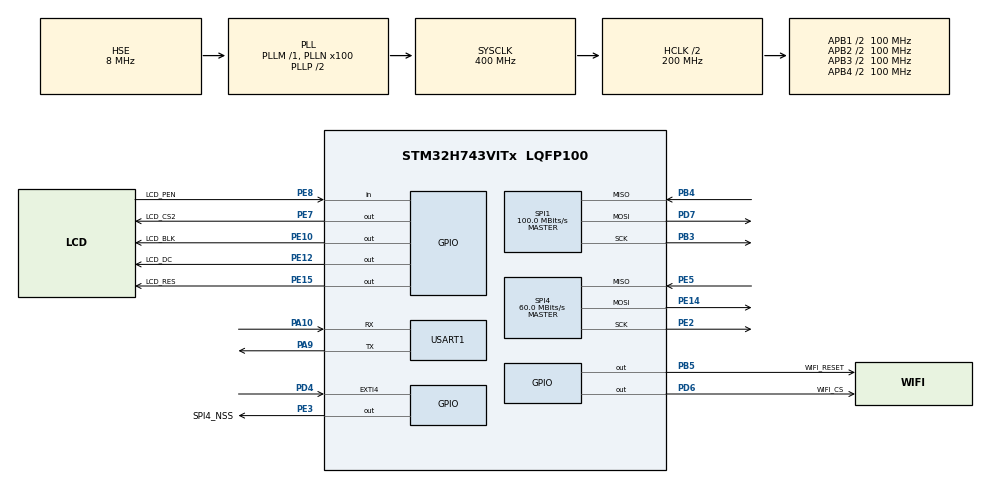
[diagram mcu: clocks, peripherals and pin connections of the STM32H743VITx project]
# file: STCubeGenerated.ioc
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CORTEX_M7.AccessPermission-Cortex_Memory_Protection_Unit_Region0_Settings=MPU_REGION_FULL_ACCESS
CORTEX_M7.AccessPermission-Cortex_Memory_Protection_Unit_Region1_Settings=MPU_REGION_FULL_ACCESS
CORTEX_M7.BaseAddress-Cortex_Memory_Protection_Unit_Region1_Settings=0x24000000
CORTEX_M7.CPU_DCache=Enabled
CORTEX_M7.CPU_ICache=Enabled
CORTEX_M7.Enable-Cortex_Memory_Protection_Unit_Region0_Settings=MPU_REGION_ENABLE
CORTEX_M7.Enable-Cortex_Memory_Protection_Unit_Region1_Settings=MPU_REGION_ENABLE
CORTEX_M7.IsBufferable-Cortex_Memory_Protection_Unit_Region0_Settings=MPU_ACCESS_BUFFERABLE
CORTEX_M7.IsBufferable-Cortex_Memory_Protection_Unit_Region1_Settings=MPU_ACCESS_BUFFERABLE
CORTEX_M7.IsCacheable-Cortex_Memory_Protection_Unit_Region0_Settings=MPU_ACCESS_CACHEABLE
CORTEX_M7.IsCacheable-Cortex_Memory_Protection_Unit_Region1_Settings=MPU_ACCESS_CACHEABLE
CORTEX_M7.IsShareable-Cortex_Memory_Protection_Unit_Region0_Settings=MPU_ACCESS_SHAREABLE
CORTEX_M7.IsShareable-Cortex_Memory_Protection_Unit_Region1_Settings=MPU_ACCESS_SHAREABLE
CORTEX_M7.MPU_Control=MPU_PRIVILEGED_DEFAULT
CORTEX_M7.Size-Cortex_Memory_Protection_Unit_Region0_Settings=MPU_REGION_SIZE_64KB
CORTEX_M7.Size-Cortex_Memory_Protection_Unit_Region1_Settings=MPU_REGION_SIZE_512KB
CORTEX_M7.TypeExtField-Cortex_Memory_Protection_Unit_Region0_Settings=MPU_TEX_LEVEL1
CORTEX_M7.TypeExtField-Cortex_Memory_Protection_Unit_Region1_Settings=MPU_TEX_LEVEL1
Dma.Request0=USART1_RX
Dma.Request1=SPI4_TX
Dma.Request2=SPI1_TX
Dma.Request3=SPI1_RX
Dma.SPI1_RX.3.Direction=DMA_PERIPH_TO_MEMORY
Dma.SPI1_RX.3.EventEnable=DISABLE
Dma.SPI1_RX.3.FIFOMode=DMA_FIFOMODE_DISABLE
Dma.SPI1_RX.3.Instance=DMA1_Stream4
Dma.SPI1_RX.3.MemDataAlignment=DMA_MDATAALIGN_BYTE
Dma.SPI1_RX.3.MemInc=DMA_MINC_ENABLE
Dma.SPI1_RX.3.Mode=DMA_NORMAL
Dma.SPI1_RX.3.PeriphDataAlignment=DMA_PDATAALIGN_BYTE
Dma.SPI1_RX.3.PeriphInc=DMA_PINC_DISABLE
Dma.SPI1_RX.3.Polarity=HAL_DMAMUX_REQ_GEN_RISING
Dma.SPI1_RX.3.Priority=DMA_PRIORITY_LOW
Dma.SPI1_RX.3.RequestNumber=1
Dma.SPI1_RX.3.SyncEnable=DISABLE
Dma.SPI1_RX.3.SyncPolarity=HAL_DMAMUX_SYNC_NO_EVENT
Dma.SPI1_RX.3.SyncRequestNumber=1
Dma.SPI1_TX.2.Direction=DMA_MEMORY_TO_PERIPH
Dma.SPI1_TX.2.EventEnable=DISABLE
Dma.SPI1_TX.2.FIFOMode=DMA_FIFOMODE_DISABLE
Dma.SPI1_TX.2.Instance=DMA1_Stream3
Dma.SPI1_TX.2.MemDataAlignment=DMA_MDATAALIGN_BYTE
Dma.SPI1_TX.2.MemInc=DMA_MINC_ENABLE
Dma.SPI1_TX.2.Mode=DMA_NORMAL
Dma.SPI1_TX.2.PeriphDataAlignment=DMA_PDATAALIGN_BYTE
Dma.SPI1_TX.2.PeriphInc=DMA_PINC_DISABLE
Dma.SPI1_TX.2.Polarity=HAL_DMAMUX_REQ_GEN_RISING
Dma.SPI1_TX.2.Priority=DMA_PRIORITY_LOW
Dma.SPI1_TX.2.RequestNumber=1
Dma.SPI1_TX.2.SyncEnable=DISABLE
Dma.SPI1_TX.2.SyncPolarity=HAL_DMAMUX_SYNC_NO_EVENT
Dma.SPI1_TX.2.SyncRequestNumber=1
Dma.SPI4_TX.1.Direction=DMA_MEMORY_TO_PERIPH
Dma.SPI4_TX.1.EventEnable=DISABLE
Dma.SPI4_TX.1.FIFOMode=DMA_FIFOMODE_DISABLE
Dma.SPI4_TX.1.Instance=DMA1_Stream2
Dma.SPI4_TX.1.MemDataAlignment=DMA_MDATAALIGN_BYTE
Dma.SPI4_TX.1.MemInc=DMA_MINC_ENABLE
Dma.SPI4_TX.1.Mode=DMA_NORMAL
Dma.SPI4_TX.1.PeriphDataAlignment=DMA_PDATAALIGN_BYTE
Dma.SPI4_TX.1.PeriphInc=DMA_PINC_DISABLE
Dma.SPI4_TX.1.Polarity=HAL_DMAMUX_REQ_GEN_RISING
Dma.SPI4_TX.1.Priority=DMA_PRIORITY_LOW
Dma.SPI4_TX.1.RequestNumber=1
Dma.SPI4_TX.1.SyncEnable=DISABLE
Dma.SPI4_TX.1.SyncPolarity=HAL_DMAMUX_SYNC_NO_EVENT
Dma.SPI4_TX.1.SyncRequestNumber=1
Dma.USART1_RX.0.Direction=DMA_PERIPH_TO_MEMORY
Dma.USART1_RX.0.EventEnable=DISABLE
Dma.USART1_RX.0.FIFOMode=DMA_FIFOMODE_DISABLE
Dma.USART1_RX.0.Instance=DMA1_Stream0
Dma.USART1_RX.0.MemDataAlignment=DMA_MDATAALIGN_BYTE
Dma.USART1_RX.0.MemInc=DMA_MINC_ENABLE
Dma.USART1_RX.0.Mode=DMA_NORMAL
Dma.USART1_RX.0.PeriphDataAlignment=DMA_PDATAALIGN_BYTE
Dma.USART1_RX.0.PeriphInc=DMA_PINC_DISABLE
Dma.USART1_RX.0.Polarity=HAL_DMAMUX_REQ_GEN_RISING
Dma.USART1_RX.0.Priority=DMA_PRIORITY_LOW
Dma.USART1_RX.0.RequestNumber=1
Dma.USART1_RX.0.SyncEnable=DISABLE
Dma.USART1_RX.0.SyncPolarity=HAL_DMAMUX_SYNC_NO_EVENT
Dma.USART1_RX.0.SyncRequestNumber=1
Mcu.Family=STM32H7
Mcu.Name=STM32H743VITx
Mcu.Package=LQFP100
NVIC.DMA1_Stream0_IRQn=true\:0\:0\:false\:false\:true\:false
NVIC.DMA1_Stream2_IRQn=true\:0\:0\:false\:false\:true\:false
NVIC.DMA1_Stream3_IRQn=true\:0\:0\:false\:false\:true\:false
NVIC.DMA1_Stream4_IRQn=true\:0\:0\:false\:false\:true\:false
NVIC.EXTI4_IRQn=true\:0\:0\:false\:false\:true\:true
NVIC.PriorityGroup=NVIC_PRIORITYGROUP_4
NVIC.SPI1_IRQn=true\:0\:0\:false\:false\:true\:true
NVIC.SPI4_IRQn=true\:0\:0\:false\:false\:true\:false
NVIC.USART1_IRQn=true\:0\:0\:false\:false\:true\:true
PA10.GPIO_Speed=GPIO_SPEED_FREQ_VERY_HIGH
PA10.Mode=Asynchronous
PA10.Signal=USART1_RX
PA13\ (JTMS/SWDIO).Mode=Serial_Wire
PA13\ (JTMS/SWDIO).Signal=SYS_JTMS-SWDIO
PA14\ (JTCK/SWCLK).Mode=Serial_Wire
PA14\ (JTCK/SWCLK).Signal=SYS_JTCK-SWCLK
PA9.GPIO_Speed=GPIO_SPEED_FREQ_VERY_HIGH
PA9.Mode=Asynchronous
PA9.Signal=USART1_TX
PB3\ (JTDO/TRACESWO).GPIO_Speed=GPIO_SPEED_FREQ_VERY_HIGH
PB3\ (JTDO/TRACESWO).Mode=Full_Duplex_Master
PB3\ (JTDO/TRACESWO).Signal=SPI1_SCK
PB4\ (NJTRST).GPIO_Speed=GPIO_SPEED_FREQ_VERY_HIGH
PB4\ (NJTRST).Mode=Full_Duplex_Master
PB4\ (NJTRST).Signal=SPI1_MISO
PB5.GPIO_Label=WIFI_RESET
PB5.GPIO_PuPd=GPIO_PULLUP
PB5.PinState=GPIO_PIN_SET
PB5.Signal=GPIO_Output
PD4.GPIO_ModeDefaultEXTI=GPIO_MODE_IT_FALLING
PD4.GPIO_PuPd=GPIO_PULLUP
PD4.Signal=GPXTI4
PD6.GPIO_Label=WIFI_CS
PD6.GPIO_PuPd=GPIO_PULLUP
PD6.GPIO_Speed=GPIO_SPEED_FREQ_VERY_HIGH
PD6.PinState=GPIO_PIN_SET
PD6.Signal=GPIO_Output
PD7.GPIO_Speed=GPIO_SPEED_FREQ_VERY_HIGH
PD7.Mode=Full_Duplex_Master
PD7.Signal=SPI1_MOSI
PE10.GPIO_Label=LCD_BLK
PE10.GPIO_PuPd=GPIO_PULLUP
PE10.Signal=GPIO_Output
PE12.GPIO_Label=LCD_DC
PE12.GPIO_PuPd=GPIO_NOPULL
PE12.GPIO_Speed=GPIO_SPEED_FREQ_VERY_HIGH
PE12.Signal=GPIO_Output
PE14.GPIO_Speed=GPIO_SPEED_FREQ_VERY_HIGH
PE14.Mode=Full_Duplex_Master
PE14.Signal=SPI4_MOSI
PE15.GPIO_Label=LCD_RES
PE15.GPIO_PuPd=GPIO_PULLUP
PE15.GPIO_Speed=GPIO_SPEED_FREQ_LOW
PE15.PinState=GPIO_PIN_SET
PE15.Signal=GPIO_Output
PE2.GPIO_Speed=GPIO_SPEED_FREQ_VERY_HIGH
PE2.Mode=Full_Duplex_Master
PE2.Signal=SPI4_SCK
PE3.GPIO_Label=SPI4_NSS
PE3.GPIO_PuPd=GPIO_PULLUP
PE3.GPIO_Speed=GPIO_SPEED_FREQ_VERY_HIGH
PE3.PinState=GPIO_PIN_SET
PE3.Signal=GPIO_Output
PE5.GPIO_Speed=GPIO_SPEED_FREQ_VERY_HIGH
PE5.Mode=Full_Duplex_Master
PE5.Signal=SPI4_MISO
PE7.GPIO_Label=LCD_CS2
PE7.GPIO_PuPd=GPIO_PULLUP
PE7.GPIO_Speed=GPIO_SPEED_FREQ_VERY_HIGH
PE7.PinState=GPIO_PIN_SET
PE7.Signal=GPIO_Output
PE8.GPIO_Label=LCD_PEN
PE8.GPIO_PuPd=GPIO_PULLUP
PE8.Signal=GPIO_Input
PH0-OSC_IN\ (PH0).Mode=HSE-External-Oscillator
PH0-OSC_IN\ (PH0).Signal=RCC_OSC_IN
PH1-OSC_OUT\ (PH1).Mode=HSE-External-Oscillator
PH1-OSC_OUT\ (PH1).Signal=RCC_OSC_OUT
ProjectManager.HeapSize=0x200
ProjectManager.StackSize=0x400
ProjectManager.TargetToolchain=Other Toolchains (GPDSC)
RCC.ADCFreq_Value=120000000
RCC.APB1Freq_Value=100000000
RCC.APB2Freq_Value=100000000
RCC.APB3Freq_Value=100000000
RCC.APB4Freq_Value=100000000
RCC.CortexFreq_Value=400000000
RCC.D1PPRE=RCC_APB3_DIV2
RCC.D2PPRE1=RCC_APB1_DIV2
RCC.D2PPRE2=RCC_APB2_DIV2
RCC.D3PPRE=RCC_APB4_DIV2
RCC.DIVM1=1
RCC.DIVM2=4
RCC.DIVN1=100
RCC.DIVN2=120
RCC.DIVQ2=1
RCC.HCLKFreq_Value=200000000
RCC.HPRE=RCC_HCLK_DIV2
RCC.HSE_VALUE=8000000
RCC.PLLSourceVirtual=RCC_PLLSOURCE_HSE
RCC.SYSCLKFreq_VALUE=400000000
RCC.SYSCLKSource=RCC_SYSCLKSOURCE_PLLCLK
RCC.Spi45ClockSelection=RCC_SPI45CLKSOURCE_PLL2
RCC.USBFreq_Value=400000000
SPI1.BaudRatePrescaler=SPI_BAUDRATEPRESCALER_4
SPI1.CLKPhase=SPI_PHASE_2EDGE
SPI1.CLKPolarity=SPI_POLARITY_HIGH
SPI1.CalculateBaudRate=100.0 MBits/s
SPI1.DataSize=SPI_DATASIZE_8BIT
SPI1.Direction=SPI_DIRECTION_2LINES
SPI1.Mode=SPI_MODE_MASTER
SPI1.VirtualType=VM_MASTER
SPI4.BaudRatePrescaler=SPI_BAUDRATEPRESCALER_4
SPI4.CalculateBaudRate=60.0 MBits/s
SPI4.DataSize=SPI_DATASIZE_8BIT
SPI4.Direction=SPI_DIRECTION_2LINES
SPI4.Mode=SPI_MODE_MASTER
SPI4.VirtualType=VM_MASTER
USART1.VirtualMode-Asynchronous=VM_ASYNC
board=custom

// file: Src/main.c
/* USER CODE BEGIN Header */
/**
  ******************************************************************************
  * @file           : main.c
  * @brief          : Main program body
  ******************************************************************************
  ** This notice applies to any and all portions of this file
  * that are not between comment pairs USER CODE BEGIN and
  * USER CODE END. Other portions of this file, whether
  * inserted by the user or by software development tools
  * are owned by their respective copyright owners.
  *
  * COPYRIGHT(c) 2018 STMicroelectronics
  *
  * Redistribution and use in source and binary forms, with or without modification,
  * are permitted provided that the following conditions are met:
  *   1. Redistributions of source code must retain the above copyright notice,
  *      this list of conditions and the following disclaimer.
  *   2. Redistributions in binary form must reproduce the above copyright notice,
  *      this list of conditions and the following disclaimer in the documentation
  *      and/or other materials provided with the distribution.
  *   3. Neither the name of STMicroelectronics nor the names of its contributors
  *      may be used to endorse or promote products derived from this software
  *      without specific prior written permission.
  *
  * THIS SOFTWARE IS PROVIDED BY THE COPYRIGHT HOLDERS AND CONTRIBUTORS "AS IS"
  * AND ANY EXPRESS OR IMPLIED WARRANTIES, INCLUDING, BUT NOT LIMITED TO, THE
  * IMPLIED WARRANTIES OF MERCHANTABILITY AND FITNESS FOR A PARTICULAR PURPOSE ARE
  * DISCLAIMED. IN NO EVENT SHALL THE COPYRIGHT HOLDER OR CONTRIBUTORS BE LIABLE
  * FOR ANY DIRECT, INDIRECT, INCIDENTAL, SPECIAL, EXEMPLARY, OR CONSEQUENTIAL
  * DAMAGES (INCLUDING, BUT NOT LIMITED TO, PROCUREMENT OF SUBSTITUTE GOODS OR
  * SERVICES; LOSS OF USE, DATA, OR PROFITS; OR BUSINESS INTERRUPTION) HOWEVER
  * CAUSED AND ON ANY THEORY OF LIABILITY, WHETHER IN CONTRACT, STRICT LIABILITY,
  * OR TORT (INCLUDING NEGLIGENCE OR OTHERWISE) ARISING IN ANY WAY OUT OF THE USE
  * OF THIS SOFTWARE, EVEN IF ADVISED OF THE POSSIBILITY OF SUCH DAMAGE.
  *
  ******************************************************************************
  */
/* USER CODE END Header */

#include "main.h"
#include "dma.h"
#include "spi.h"
#include "usart.h"
#include "gpio.h"

/* USER CODE BEGIN Includes */
#include "RTE_Components.h"
#include "EventRecorder.h"
#include "EventRecorderConf.h"
#include <string.h>
#include "RTE_Include.h"
#include "BSP_Systick.h"
#include "BSP_Led.h"
/* USER CODE END Includes */

void SystemClock_Config(void);
static void MPU_Config(void);

/* USER CODE BEGIN 0 */
__attribute__((section (".RAM_AXIM"))) uint8_t RecBuf[20] = {0};
void HAL_UART_RxCpltCallback(UART_HandleTypeDef *huart)
{
	if(huart == &huart1)
	{
		SCB_InvalidateDCache_by_Addr((uint32_t *)RecBuf, 20);
		HAL_UART_Transmit(&huart1,RecBuf,strlen((char *)RecBuf),HAL_MAX_DELAY);
	}
}
static void LEDTimer_Callback(void* UserParameters) {
	EventStopA(0);
	UNUSED(UserParameters);
	BSP_LED_Toggle(LED_0);
	EventStartA(0);
}
int stdout_putchar (int ch)
{
	HAL_UART_Transmit(&huart1,(uint8_t *)&ch,1,HAL_MAX_DELAY);
	return ch;
}
/* USER CODE END 0 */

int main(void)
{

  /* MPU Configuration--------------------------------------------------------*/
  MPU_Config();

  /* Enable I-Cache---------------------------------------------------------*/
  SCB_EnableICache();

  /* Enable D-Cache---------------------------------------------------------*/
  SCB_EnableDCache();

  /* MCU Configuration--------------------------------------------------------*/

  /* Reset of all peripherals, Initializes the Flash interface and the Systick. */
  HAL_Init();

  /* Configure the system clock */
  SystemClock_Config();

  /* Initialize all configured peripherals */
  MX_GPIO_Init();
  MX_DMA_Init();
  MX_USART1_UART_Init();
  MX_SPI4_Init();
  MX_SPI1_Init();
  /* USER CODE BEGIN 2 */
	/* 初始化 EventRecorder 并开启 */
	EventRecorderInitialize(EventRecordAll, 1U);
	EventRecorderStart();
	RTE_Init();
	BSP_LED_Init();
  /* USER CODE END 2 */

  /* Infinite loop */
  /* USER CODE BEGIN WHILE */
	printf("SystemCoreClock:%d\r\n",SystemCoreClock);
	HAL_UART_Transmit(&huart1,(uint8_t *)"Helloworld\r\n",12,HAL_MAX_DELAY);
	HAL_UART_Receive_DMA(&huart1,(uint8_t *)RecBuf,10);
	RTE_RoundRobin_CreateTimer(0,"LEDTimer",500,1,1,LEDTimer_Callback,(void *)0);
  while (1)
  {
    /* USER CODE END WHILE */

    /* USER CODE BEGIN 3 */
		RTE_RoundRobin_Run(0);
  }
  /* USER CODE END 3 */
}

void SystemClock_Config(void)
{
  RCC_OscInitTypeDef RCC_OscInitStruct = {0};
  RCC_ClkInitTypeDef RCC_ClkInitStruct = {0};
  RCC_PeriphCLKInitTypeDef PeriphClkInitStruct = {0};

  /**Supply configuration update enable
  */
  MODIFY_REG(PWR->CR3, PWR_CR3_SCUEN, 0);
  /**Configure the main internal regulator output voltage
  */
  __HAL_PWR_VOLTAGESCALING_CONFIG(PWR_REGULATOR_VOLTAGE_SCALE1);

  while ((PWR->D3CR & (PWR_D3CR_VOSRDY)) != PWR_D3CR_VOSRDY)
  {

  }
  /**Macro to configure the PLL clock source
  */
  __HAL_RCC_PLL_PLLSOURCE_CONFIG(RCC_PLLSOURCE_HSE);
  /**Initializes the CPU, AHB and APB busses clocks
  */
  RCC_OscInitStruct.OscillatorType = RCC_OSCILLATORTYPE_HSE;
  RCC_OscInitStruct.HSEState = RCC_HSE_ON;
  RCC_OscInitStruct.PLL.PLLState = RCC_PLL_ON;
  RCC_OscInitStruct.PLL.PLLSource = RCC_PLLSOURCE_HSE;
  RCC_OscInitStruct.PLL.PLLM = 1;
  RCC_OscInitStruct.PLL.PLLN = 100;
  RCC_OscInitStruct.PLL.PLLP = 2;
  RCC_OscInitStruct.PLL.PLLQ = 2;
  RCC_OscInitStruct.PLL.PLLR = 2;
  RCC_OscInitStruct.PLL.PLLRGE = RCC_PLL1VCIRANGE_3;
  RCC_OscInitStruct.PLL.PLLVCOSEL = RCC_PLL1VCOWIDE;
  RCC_OscInitStruct.PLL.PLLFRACN = 0;
  if (HAL_RCC_OscConfig(&RCC_OscInitStruct) != HAL_OK)
  {
    Error_Handler();
  }
  /**Initializes the CPU, AHB and APB busses clocks
  */
  RCC_ClkInitStruct.ClockType = RCC_CLOCKTYPE_HCLK|RCC_CLOCKTYPE_SYSCLK
                              |RCC_CLOCKTYPE_PCLK1|RCC_CLOCKTYPE_PCLK2
                              |RCC_CLOCKTYPE_D3PCLK1|RCC_CLOCKTYPE_D1PCLK1;
  RCC_ClkInitStruct.SYSCLKSource = RCC_SYSCLKSOURCE_PLLCLK;
  RCC_ClkInitStruct.SYSCLKDivider = RCC_SYSCLK_DIV1;
  RCC_ClkInitStruct.AHBCLKDivider = RCC_HCLK_DIV2;
  RCC_ClkInitStruct.APB3CLKDivider = RCC_APB3_DIV2;
  RCC_ClkInitStruct.APB1CLKDivider = RCC_APB1_DIV2;
  RCC_ClkInitStruct.APB2CLKDivider = RCC_APB2_DIV2;
  RCC_ClkInitStruct.APB4CLKDivider = RCC_APB4_DIV2;

  if (HAL_RCC_ClockConfig(&RCC_ClkInitStruct, FLASH_LATENCY_2) != HAL_OK)
  {
    Error_Handler();
  }
  PeriphClkInitStruct.PeriphClockSelection = RCC_PERIPHCLK_USART1|RCC_PERIPHCLK_SPI4
                              |RCC_PERIPHCLK_SPI1;
  PeriphClkInitStruct.PLL2.PLL2M = 4;
  PeriphClkInitStruct.PLL2.PLL2N = 120;
  PeriphClkInitStruct.PLL2.PLL2P = 2;
  PeriphClkInitStruct.PLL2.PLL2Q = 1;
  PeriphClkInitStruct.PLL2.PLL2R = 2;
  PeriphClkInitStruct.PLL2.PLL2RGE = RCC_PLL2VCIRANGE_1;
  PeriphClkInitStruct.PLL2.PLL2VCOSEL = RCC_PLL2VCOWIDE;
  PeriphClkInitStruct.PLL2.PLL2FRACN = 0;
  PeriphClkInitStruct.Spi123ClockSelection = RCC_SPI123CLKSOURCE_PLL;
  PeriphClkInitStruct.Spi45ClockSelection = RCC_SPI45CLKSOURCE_PLL2;
  PeriphClkInitStruct.Usart16ClockSelection = RCC_USART16CLKSOURCE_D2PCLK2;
  if (HAL_RCCEx_PeriphCLKConfig(&PeriphClkInitStruct) != HAL_OK)
  {
    Error_Handler();
  }
}

/* MPU Configuration */

void MPU_Config(void)
{
  MPU_Region_InitTypeDef MPU_InitStruct = {0};

  /* Disables the MPU */
  HAL_MPU_Disable();
  /**Initializes and configures the Region and the memory to be protected
  */
  MPU_InitStruct.Enable = MPU_REGION_ENABLE;
  MPU_InitStruct.Number = MPU_REGION_NUMBER0;
  MPU_InitStruct.BaseAddress = 0x0;
  MPU_InitStruct.Size = MPU_REGION_SIZE_64KB;
  MPU_InitStruct.SubRegionDisable = 0x0;
  MPU_InitStruct.TypeExtField = MPU_TEX_LEVEL1;
  MPU_InitStruct.AccessPermission = MPU_REGION_FULL_ACCESS;
  MPU_InitStruct.DisableExec = MPU_INSTRUCTION_ACCESS_ENABLE;
  MPU_InitStruct.IsShareable = MPU_ACCESS_SHAREABLE;
  MPU_InitStruct.IsCacheable = MPU_ACCESS_CACHEABLE;
  MPU_InitStruct.IsBufferable = MPU_ACCESS_BUFFERABLE;

  HAL_MPU_ConfigRegion(&MPU_InitStruct);
  /**Initializes and configures the Region and the memory to be protected
  */
  MPU_InitStruct.Enable = MPU_REGION_ENABLE;
  MPU_InitStruct.Number = MPU_REGION_NUMBER1;
  MPU_InitStruct.BaseAddress = 0x24000000;
  MPU_InitStruct.Size = MPU_REGION_SIZE_512KB;
  MPU_InitStruct.SubRegionDisable = 0x0;
  MPU_InitStruct.TypeExtField = MPU_TEX_LEVEL1;
  MPU_InitStruct.AccessPermission = MPU_REGION_FULL_ACCESS;
  MPU_InitStruct.DisableExec = MPU_INSTRUCTION_ACCESS_ENABLE;
  MPU_InitStruct.IsShareable = MPU_ACCESS_SHAREABLE;
  MPU_InitStruct.IsCacheable = MPU_ACCESS_CACHEABLE;
  MPU_InitStruct.IsBufferable = MPU_ACCESS_BUFFERABLE;

  HAL_MPU_ConfigRegion(&MPU_InitStruct);
  /* Enables the MPU */
  HAL_MPU_Enable(MPU_PRIVILEGED_DEFAULT);

}

void Error_Handler(void)
{
}

/************************ (C) COPYRIGHT STMicroelectronics *****END OF FILE****/
